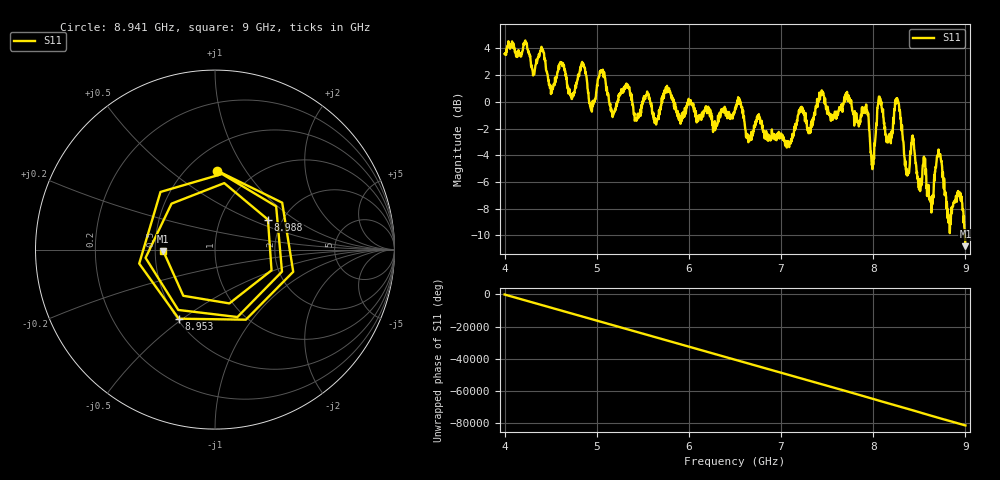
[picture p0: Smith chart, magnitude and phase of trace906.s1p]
! Created with skrf 1.8.0 (http://scikit-rf.org).
# Hz S RI R 50.0
!freq ReS11 ImS11
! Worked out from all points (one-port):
!   1601 points, 4 GHz to 9 GHz, reference 50 ohm
!   lowest |S11| = -10.8 dB at 9 GHz (marker M1), VSWR 1.81, Z = 27.6 - j0.506 ohm
!   |S11| at or under -10 dB: 8.993276 GHz to end of sweep
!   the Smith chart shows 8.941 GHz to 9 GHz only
!   S11 on the Smith chart (normalised r, x): 8.941 GHz: 0.69, +0.75; 8.953 GHz: 0.51, -0.48; 8.988 GHz: 1.69, +0.64; 9 GHz: 0.55, -0.01
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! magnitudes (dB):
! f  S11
! 4 GHz  3.6
! 4.403 GHz  3.9
! 4.506 GHz  0.9
! 4.625 GHz  2.7
! 4.731 GHz  0.2
! 4.853 GHz  2.9
! 4.941 GHz  -0.4
! 5.056 GHz  2.2
! 5.169 GHz  -0.8
! 5.25 GHz  0.6
! 5.875 GHz  -1.1
! 6.5 GHz  -0.5
! 7.125 GHz  -2.7
! 7.75 GHz  -0.1
! 7.925 GHz  -0.2
! 7.991 GHz  -5.0
! 8.066 GHz  0.4
! 8.166 GHz  -2.7
! 8.262 GHz  0.1
! 8.375 GHz  -5.5
! 8.428 GHz  -2.5
! 8.628 GHz  -7.5
! 8.716 GHz  -4.1
! 8.819 GHz  -8.9
! 8.941 GHz  -7.2
! 8.953 GHz  -7.2
! 8.988 GHz  -9.4
! 9 GHz  -10.8
